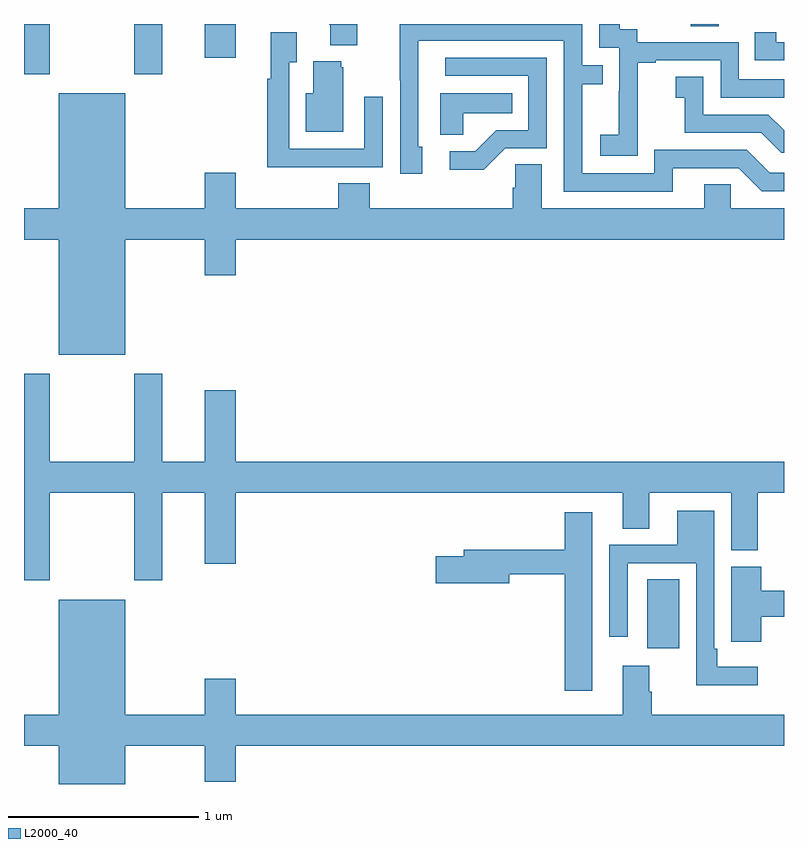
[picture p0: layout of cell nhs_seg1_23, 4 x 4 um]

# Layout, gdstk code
import gdstk
lib = gdstk.Library(unit=1e-6, precision=1e-09)
def R(c, l, rs):  # rectangles x0, y0, x1, y1
    for r in rs: c.add(gdstk.rectangle(r[:2], r[2:], *l))
def P(c, l, *ps):  # polygons
    for p in ps: c.add(gdstk.Polygon(p, *l))
L2000_40 = (2000, 40)

nhs_seg1_23 = lib.new_cell('nhs_seg1_23')
R(nhs_seg1_23, L2000_40, [(114.281,550.914,114.448,551.276), (111,553.935,111.135,554.199), (111.58,553.935,111.727,554.199), (111.95,554.022,112.114,554.199), (114.509,554.188,114.657,554.199)])
P(nhs_seg1_23, L2000_40, [(112.753,554.199),(112.606,554.199),(112.606,554.194),(112.613,554.194),(112.613,554.087),(112.753,554.087)],
  [(114.415,553.44),(114.762,553.44),(114.882,553.32),(115,553.32),(115,553.416),(114.924,553.416),(114.804,553.536),(114.318,553.536),(114.318,553.413),(113.937,553.413),(113.937,553.882),(114.047,553.882),(114.047,553.983),(113.937,553.983),(113.937,554.199),(112.978,554.199),(112.978,553.903),(112.98,553.903),(112.98,553.41),(113.095,553.41),(113.095,553.554),(113.076,553.554),(113.076,554.112),(113.841,554.112),(113.841,553.317),(114.415,553.317)],
  [(114.231,553.711),(114.23,553.711),(114.23,553.995),(114.325,553.995),(114.325,554.007),(114.666,554.007),(114.666,553.812),(115,553.812),(115,553.908),(114.762,553.908),(114.762,554.103),(114.228,554.103),(114.228,554.172),(114.136,554.172),(114.136,554.199),(114.027,554.199),(114.027,554.073),(114.132,554.073),(114.132,553.844),(114.131,553.844),(114.131,553.615),(114.033,553.615),(114.033,553.505),(114.231,553.505)],
  [(115,554.103),(114.958,554.103),(114.958,554.155),(114.847,554.155),(114.847,554.007),(115,554.007)],
  [(112.571,553.446),(112.887,553.446),(112.887,553.816),(112.791,553.816),(112.791,553.542),(112.395,553.542),(112.395,553.999),(112.435,553.999),(112.435,554.155),(112.298,554.155),(112.298,553.91),(112.279,553.91),(112.279,553.445),(112.571,553.445)],
  [(113.532,553.545),(113.751,553.545),(113.751,554.022),(113.217,554.022),(113.217,553.926),(113.655,553.926),(113.655,553.641),(113.486,553.641),(113.375,553.53),(113.241,553.53),(113.241,553.433),(113.419,553.433)],
  [(112.681,553.971),(112.67,553.971),(112.67,554.002),(112.523,554.002),(112.523,553.834),(112.484,553.834),(112.484,553.631),(112.681,553.631)],
  [(115,553.64),(114.918,553.722),(114.576,553.722),(114.576,553.921),(114.429,553.921),(114.429,553.811),(114.478,553.811),(114.478,553.626),(114.881,553.626),(114.986,553.521),(115,553.521)],
  [(113.313,553.73),(113.57,553.73),(113.57,553.834),(113.192,553.834),(113.192,553.615),(113.313,553.615)],
  [(111.532,553.064),(111.95,553.064),(111.95,552.876),(112.114,552.876),(112.114,553.064),(115,553.064),(115,553.228),(114.72,553.228),(114.72,553.355),(114.581,553.355),(114.581,553.228),(113.725,553.228),(113.725,553.46),(113.586,553.46),(113.586,553.337),(113.573,553.337),(113.573,553.228),(112.82,553.228),(112.82,553.361),(112.655,553.361),(112.655,553.228),(112.114,553.228),(112.114,553.417),(111.95,553.417),(111.95,553.228),(111.532,553.228),(111.532,553.834),(111.182,553.834),(111.182,553.228),(111,553.228),(111,553.064),(111.182,553.064),(111.182,552.458),(111.532,552.458)],
  [(111.135,551.732),(111.58,551.732),(111.58,551.271),(111.727,551.271),(111.727,551.732),(111.95,551.732),(111.95,551.358),(112.114,551.358),(112.114,551.732),(114.152,551.732),(114.152,551.542),(114.292,551.542),(114.292,551.732),(114.722,551.732),(114.722,551.428),(114.861,551.428),(114.861,551.732),(115,551.732),(115,551.896),(112.114,551.896),(112.114,552.271),(111.95,552.271),(111.95,551.896),(111.727,551.896),(111.727,552.358),(111.58,552.358),(111.58,551.896),(111.135,551.896),(111.135,552.358),(111,552.358),(111,551.271),(111.135,551.271)],
  [(114.862,550.816),(114.649,550.816),(114.649,550.912),(114.633,550.912),(114.633,551.638),(114.437,551.638),(114.437,551.457),(114.081,551.457),(114.081,550.974),(114.177,550.974),(114.177,551.361),(114.537,551.361),(114.537,550.718),(114.862,550.718)],
  [(113.992,551.629),(113.846,551.629),(113.846,551.431),(113.315,551.431),(113.315,551.397),(113.166,551.397),(113.166,551.255),(113.554,551.255),(113.554,551.302),(113.846,551.302),(113.846,550.689),(113.992,550.689)],
  [(114.879,551.08),(115,551.08),(115,551.216),(114.879,551.216),(114.879,551.343),(114.722,551.343),(114.722,551.059),(114.723,551.059),(114.723,550.947),(114.879,550.947)],
  [(111.532,550.4),(111.95,550.4),(111.95,550.212),(112.114,550.212),(112.114,550.4),(115,550.4),(115,550.564),(114.305,550.564),(114.305,550.685),(114.292,550.685),(114.292,550.822),(114.152,550.822),(114.152,550.564),(112.114,550.564),(112.114,550.753),(111.95,550.753),(111.95,550.564),(111.532,550.564),(111.532,551.17),(111.182,551.17),(111.182,550.564),(111,550.564),(111,550.4),(111.182,550.4),(111.182,550.199),(111.532,550.199)])

lib.write_gds('nhs_seg1_23.gds')
